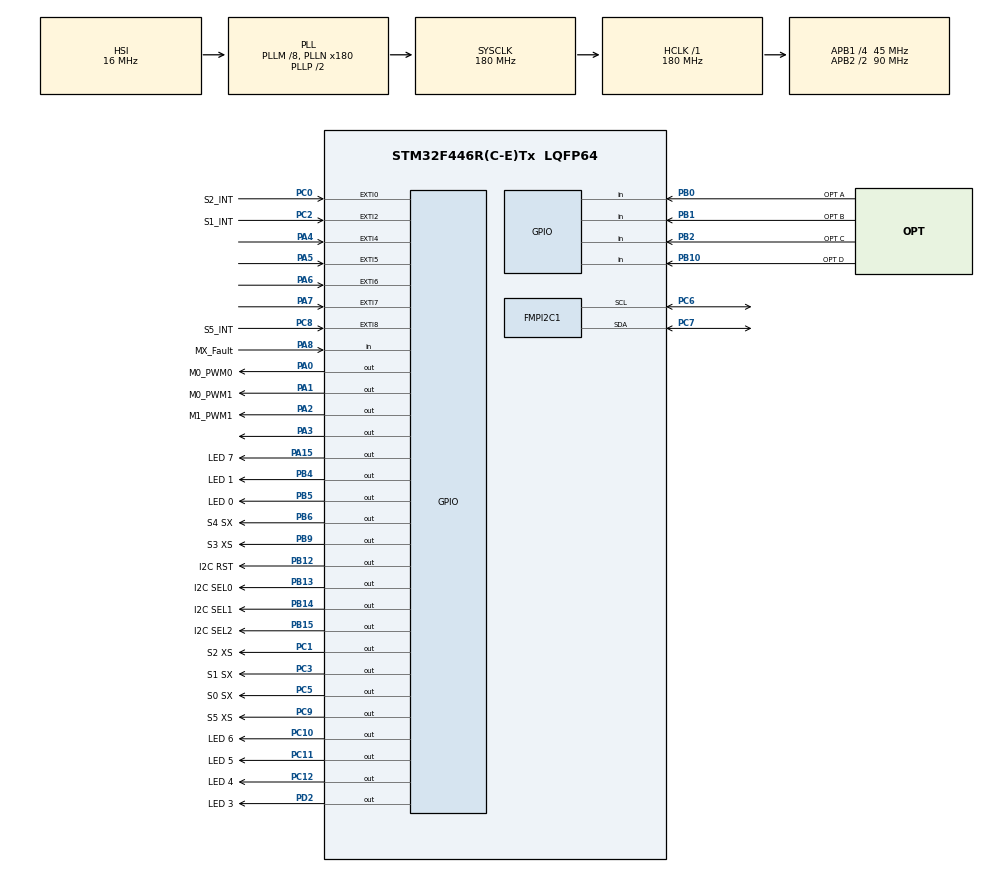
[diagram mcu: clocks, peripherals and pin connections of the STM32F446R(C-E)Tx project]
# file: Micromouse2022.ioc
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FMPI2C1.Timing=0xC0000E12
FREERTOS.Tasks01=defaultTask,0,128,StartDefaultTask,Default,NULL,Dynamic,NULL,NULL
Mcu.Family=STM32F4
Mcu.Name=STM32F446R(C-E)Tx
Mcu.Package=LQFP64
NVIC.EXTI0_IRQn=true\:5\:0\:false\:false\:true\:true\:true\:true
NVIC.EXTI2_IRQn=true\:5\:0\:false\:false\:true\:true\:true\:true
NVIC.EXTI4_IRQn=true\:5\:0\:false\:false\:true\:true\:true\:true
NVIC.EXTI9_5_IRQn=true\:5\:0\:false\:false\:true\:true\:true\:true
NVIC.PriorityGroup=NVIC_PRIORITYGROUP_4
NVIC.TIM1_UP_TIM10_IRQn=true\:15\:0\:false\:false\:true\:false\:false\:true
NVIC.TimeBase=TIM1_UP_TIM10_IRQn
NVIC.TimeBaseIP=TIM1
PA0-WKUP.GPIO_Label=M0_PWM0
PA0-WKUP.Signal=GPIO_Output
PA1.GPIO_Label=M0_PWM1
PA1.Signal=GPIO_Output
PA13.Mode=Serial_Wire
PA13.Signal=SYS_JTMS-SWDIO
PA14.Mode=Serial_Wire
PA14.Signal=SYS_JTCK-SWCLK
PA15.GPIO_Label=LED 7
PA15.Signal=GPIO_Output
PA2.GPIO_Label=M1_PWM1
PA2.Signal=GPIO_Output
PA3.Signal=GPIO_Output
PA4.Signal=GPXTI4
PA5.Signal=GPXTI5
PA6.Signal=GPXTI6
PA7.Signal=GPXTI7
PA8.GPIO_Label=MX_Fault
PA8.Signal=GPIO_Input
PB0.GPIO_Label=OPT A
PB0.Signal=GPIO_Input
PB1.GPIO_Label=OPT B
PB1.Signal=GPIO_Input
PB10.GPIO_Label=OPT D
PB10.Signal=GPIO_Input
PB12.GPIO_Label=I2C RST
PB12.Signal=GPIO_Output
PB13.GPIO_Label=I2C SEL0
PB13.Signal=GPIO_Output
PB14.GPIO_Label=I2C SEL1
PB14.Signal=GPIO_Output
PB15.GPIO_Label=I2C SEL2
PB15.Signal=GPIO_Output
PB2.GPIO_Label=OPT C
PB2.Signal=GPIO_Input
PB3.Signal=SYS_JTDO-SWO
PB4.GPIO_Label=LED 1
PB4.Signal=GPIO_Output
PB5.GPIO_Label=LED 0
PB5.Signal=GPIO_Output
PB6.GPIO_Label=S4 SX
PB6.GPIO_PuPd=GPIO_PULLUP
PB6.Signal=GPIO_Output
PB9.GPIO_Label=S3 XS
PB9.GPIO_PuPd=GPIO_PULLUP
PB9.Signal=GPIO_Output
PC0.GPIO_Label=S2_INT
PC0.Signal=GPXTI0
PC1.GPIO_Label=S2 XS
PC1.GPIO_PuPd=GPIO_PULLUP
PC1.Signal=GPIO_Output
PC10.GPIO_Label=LED 6
PC10.Signal=GPIO_Output
PC11.GPIO_Label=LED 5
PC11.Signal=GPIO_Output
PC12.GPIO_Label=LED 4
PC12.Signal=GPIO_Output
PC14-OSC32_IN.Mode=LSE-External-Oscillator
PC14-OSC32_IN.Signal=RCC_OSC32_IN
PC15-OSC32_OUT.Mode=LSE-External-Oscillator
PC15-OSC32_OUT.Signal=RCC_OSC32_OUT
PC2.GPIO_Label=S1_INT
PC2.Signal=GPXTI2
PC3.GPIO_Label=S1 SX
PC3.GPIO_PuPd=GPIO_PULLUP
PC3.Signal=GPIO_Output
PC5.GPIO_Label=S0 SX
PC5.GPIO_PuPd=GPIO_PULLUP
PC5.Signal=GPIO_Output
PC6.Mode=I2C
PC6.Signal=FMPI2C1_SCL
PC7.Mode=I2C
PC7.Signal=FMPI2C1_SDA
PC8.GPIO_Label=S5_INT
PC8.Signal=GPXTI8
PC9.GPIO_Label=S5 XS
PC9.GPIO_PuPd=GPIO_PULLUP
PC9.Signal=GPIO_Output
PD2.GPIO_Label=LED 3
PD2.Signal=GPIO_Output
PH0-OSC_IN.Mode=HSE-External-Oscillator
PH0-OSC_IN.Signal=RCC_OSC_IN
PH1-OSC_OUT.Mode=HSE-External-Oscillator
PH1-OSC_OUT.Signal=RCC_OSC_OUT
ProjectManager.HeapSize=0x200
ProjectManager.StackSize=0x400
ProjectManager.TargetToolchain=STM32CubeIDE
RCC.AHBFreq_Value=180000000
RCC.APB1CLKDivider=RCC_HCLK_DIV4
RCC.APB1Freq_Value=45000000
RCC.APB1TimFreq_Value=90000000
RCC.APB2CLKDivider=RCC_HCLK_DIV2
RCC.APB2Freq_Value=90000000
RCC.APB2TimFreq_Value=180000000
RCC.CortexFreq_Value=180000000
RCC.HCLKFreq_Value=180000000
RCC.HSE_VALUE=16000000
RCC.PLLM=8
RCC.PLLN=180
RCC.SYSCLKFreq_VALUE=180000000
RCC.SYSCLKSource=RCC_SYSCLKSOURCE_PLLCLK
RCC.USBFreq_Value=180000000
RCC.VCOOutputFreq_Value=360000000
VP_FREERTOS_VS_CMSIS_V1.Mode=CMSIS_V1
VP_SYS_VS_tim1.Mode=TIM1
board=custom

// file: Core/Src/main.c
/* USER CODE BEGIN Header */
/**
  ******************************************************************************
  * @file           : main.c
  * @brief          : Main program body
  ******************************************************************************
  * @attention
  *
  * Copyright (c) 2022 STMicroelectronics.
  * All rights reserved.
  *
  * This software is licensed under terms that can be found in the LICENSE file
  * in the root directory of this software component.
  * If no LICENSE file comes with this software, it is provided AS-IS.
  *
  ******************************************************************************
  */

// Uh so the current plan is that the sensor values are read with an interrupt
// But then we also implement blocking functions for moving in a direction, or
// checking if there's a wall in a given direction. That can do what they want

// TODO: Function to move 1 square in any direction
// TODO: Function to check if there's a wall in a given direction
// TODO: Check DIP switches for maze algo
// TODO: Once we've solved the maze, go back to the beginning, and run it
// TODO: Any number of bugs arising from the fact that I don't know C

/* USER CODE END Header */
#include "main.h"
#include "cmsis_os.h"

/* USER CODE BEGIN Includes */
#include <stdlib.h>
#include <string.h>
/* USER CODE END Includes */

/* USER CODE BEGIN PD */
#define MAZE_SIZE 10
// 0 - Basic A*; 1 - A*, but tries to go center; 2 - A²*, 3 - Augment A* and extra huristic
#define MAPPING_MODE 3

#define END_X 5
#define END_Y 5

/* USER CODE END PD */

FMPI2C_HandleTypeDef hfmpi2c1;

osThreadId defaultTaskHandle;

void SystemClock_Config(void);
static void MX_GPIO_Init(void);
static void MX_FMPI2C1_Init(void);
void StartDefaultTask(void const * argument);

/* USER CODE BEGIN 0 */
// A maze
// Uh
// maze[Y][X][1: vertical; 0: horizontal]
// And the number represents the confidence
// So 0 is we have no idea, and positive is wall, and negative is no wall
int maze[11][11][2];

// Aahhhah
typedef struct Node Node;

struct Node {
	int x;
	int y;
	int closed; //Boolean but this is C :(
	int distance; // The length of the path up to this point, this.last.distance + 1
	int guess; // The heuristic, usually Manhattan to goal with no walls
	int score; //The guess + distance (depending on algo) (lower is better)
	Node* last; //The parent node, the node from which we discovered this node
};

// The list of nodes
// Sorted such that closed nodes are 0..closedNodes-1
// And nodes after that increase in score
// This is the canonical list of nodes, order doesn't matter
// All other nodes are pointers into nodesStatic
Node nodesStatic[MAZE_SIZE*MAZE_SIZE];
// A*'s working list of nodes. 0..closedNodes-1 are closed, and closedNodes..numNodes-1 are open
Node *nodes[MAZE_SIZE*MAZE_SIZE];
int closedNodes = 0;
int numNodes = 0;

//let robot (Needs to keep track of inter-tile location, e.g. encoder counts)
Node *current; //The node the robot is currently at (or that A* thinks we're at)
Node *goal; //The current goal node
//let state (Might be needed to track what we're doing. Might be fine a while true loop and blocking functions)
Node *backPath[MAZE_SIZE*MAZE_SIZE]; // Used to store the path along which we backtrack to get to goal
int backPathLength = 0;

// The main path, once we've solved the maze, the route we use
Node *mainPath[MAZE_SIZE*MAZE_SIZE];
int pathLength = 0;

//Heuristic function
int h (int x, int y) {
	return abs(END_X - x) + abs(END_Y - y);
}

void insertAt(Node **arr, int len, int i, Node* n) {
	for (int j = len; j > i; j --) {
		arr[j] = arr[j - 1];
	}
	arr[i] = n;
}

void removeAt(Node **arr, int len, int i) {
	for (int j = i; j < len - 1; j ++) {
		arr[j] = arr[j + 1];
	}
}

void addNodeIfNotExists(int x, int y) {
	//Check if we've seen the node before
	for (int i = 0; i < numNodes; i++) {
		if (nodes[i]->x == x && nodes[i]->y == y) {
			//We don't have to ever update the score on a node
			//Because our heuristic is nice (just distance)
			return;
		}
	}

	Node *n = &nodesStatic[numNodes];
	n->x = x;
	n->y = y;
	n->last = current;
	n->guess = h(x, y);
	n->distance = current->distance + 1;
	if (MAPPING_MODE == 0) {
		n->score = n->distance + n->guess;
	}else if (MAPPING_MODE == 1 || MAPPING_MODE == 3) {
		n->score = n->distance + n->guess*10;
	}

	/*//Just assertions
	assertEq(nodes[closedNodes].closed, false, "AHHHH");
	if (closedNodes < nodes.length - 1) {
		assertEq(nodes[closedNodes + 1].closed, false, "B");
	}else {
		console.assert(false, "testing");
	}
	if (closedNodes >= 1) {
		assertEq(nodes[closedNodes - 1].closed, true, "B");
	}*/

	//Sort the new node in
	for (int i = closedNodes; i < numNodes; i++) {
		if (nodes[i]->score > n->score) {
			//nodes.splice(i, 0, n);
			//arr, length, index to insert, item
			insertAt(nodes, numNodes, i, n);
			numNodes++;
			return;
		}
	}
	//Otherwise, add the node to the end
    //	nodes.splice(nodes.length, 0, n);
    //	insertAt(nodes, numNodes, numNodes, n);
	nodes[numNodes] = n;
	numNodes++;
}

int checkDone() {
	return current->x == END_X && current->y == END_Y;
}

// Once we've solved the maze, converts node tree into `mainPath` (a list)
void createPath() {
	mainPath[0] = current;
	Node *previous = current;
	pathLength = 1;
	while (previous->last->distance >= 0) {
		// path.unshift(backtrack.last);
		insertAt(mainPath, pathLength, 0, previous->last);
		pathLength++;
		previous = previous->last;
	}
}

//Update the known information about the maze with what we know
void updateMaze() {
	//TODO: Scan the maze

	//If there's not a wall to each of our sides, add a new node there
	if (!maze[current->y][current->x][0]) {
		addNodeIfNotExists(current->x, current->y - 1);
	}
	//Left
	if (!maze[current->y][current->x][1]) {
		addNodeIfNotExists(current->x - 1, current->y);
	}
	//Down
	if (!maze[current->y + 1][current->x][0]) {
		addNodeIfNotExists(current->x, current->y + 1);
	}
	//Right
	if (!maze[current->y][current->x + 1][1]) {
		addNodeIfNotExists(current->x + 1, current->y);
	}
}

void updateGoal () {
	if (closedNodes >= numNodes) {
		return;
	}

	if (MAPPING_MODE == 1 || MAPPING_MODE == 2) {
		goal = nodes[closedNodes];
	}else {
		//If there's one adjacent node, go there, otherwise go to A*
		Node *adjacentNode = NULL;

		for (int i = 0; i < numNodes; i++) {
			//If it's open and adjacent
			if (nodes[i]->last == current && !nodes[i]->closed) {
				// If we already have one
				if (adjacentNode != NULL) {
					//Then we want to ignore it
					adjacentNode = NULL;
				}else {
					adjacentNode = nodes[i];
				}
			}
		}

		if (adjacentNode == NULL) {
			goal = nodes[closedNodes];
		}else {
			goal = adjacentNode;
		}
	}
}

void createBackPath() {
	//finding backPath only needs to run once
	// Create a path.
	//      Find a common parent of current and goal
	//	backPath[0] = current;
	//	backPath[1] = goal;
	memcpy(&backPath[0], current, sizeof(Node));
	memcpy(&backPath[1], goal, sizeof(Node));
	int numMid = 1; //The number of nodes that we go up before going back down.
	backPathLength = 2;

	const int genDiff = abs(current->distance - goal->distance);

	for (int i = 0; i < genDiff; i++) {
		if (current->distance > goal->distance) {
			// parentCur.push(parentCur[parentCur.length-1].last);
			// backPath.splice(numMid, 0, backPath[numMid - 1].last);
			insertAt(backPath, backPathLength, numMid, backPath[numMid - 1]->last);
			numMid++;
			backPathLength++;
		}else {
			// parentGoal.unshift(parentGoal[0].last);
			// backPath.splice(numMid, 0, backPath[numMid].last);
			insertAt(backPath, backPathLength, numMid, backPath[numMid]->last);
			backPathLength++;
		}
	}
	//Walk back up the tree until they're the same
	while (backPath[numMid-1]->last != backPath[numMid]->last) {
		// parentCur.push(parentCur[parentCur.length-1].last);
		// backPath.splice(numMid, 0, backPath[numMid-1].last);
		insertAt(backPath, backPathLength, numMid, backPath[numMid-1]->last);
		numMid++;
		backPathLength++;

		// parentGoal.unshift(parentGoal[0].last);
		// backPath.splice(numMid, 0, backPath[numMid].last);
		insertAt(backPath, backPathLength, numMid, backPath[numMid]->last);
		backPathLength++;
	}
	//Remove the duplicated shared parent, that they both pushed
	// backPath.slice(numMid, 0, backPath[numMid].last);
	removeAt(backPath, backPathLength, numMid);
	backPathLength--;
}

void moveToGoal() {
    // Move back along path
    //      To move one node, move ? per tile
    // backPath is a list of contiguous nodes. First is current, last is goal

	//TODO: Uh spin some motors or something
	// Probably refactor this to call a blocking move function,
	// And continue once we're there, instead of checking if we're there

//    if (backPath[1].x == (robot.x - SQUARE_SIZE/2)/SQUARE_SIZE &&
//        backPath[1].y == (robot.y - SQUARE_SIZE/2)/SQUARE_SIZE) {
//        //Then we've made it
//        backPath.shift(); //Remove the first
//    }
	if (1==1 /*We're there, by some metric*/) {
		//Then we've made it
		removeAt(backPath, backPathLength, 0);
		backPathLength--;
	}

    if (backPathLength == 1) {
        //Then we're actually done,

        current = backPath[0];
        backPathLength = 0;
    }
}
/* USER CODE END 0 */

int main(void)
{

  /* MCU Configuration--------------------------------------------------------*/

  /* Reset of all peripherals, Initializes the Flash interface and the Systick. */
  HAL_Init();

  /* Configure the system clock */
  SystemClock_Config();

  /* Initialize all configured peripherals */
  MX_GPIO_Init();
  MX_FMPI2C1_Init();
  /* USER CODE BEGIN 2 */

  // Read DIP values
  const OPT_A = HAL_GPIO_ReadPin(OPT_A_GPIO_Port, OPT_A_Pin);
  const OPT_B = HAL_GPIO_ReadPin(OPT_B_GPIO_Port, OPT_B_Pin);
  const OPT_C = HAL_GPIO_ReadPin(OPT_C_GPIO_Port, OPT_C_Pin);
  const OPT_D = HAL_GPIO_ReadPin(OPT_D_GPIO_Port, OPT_D_Pin);

  //TODO: use DIP values

  /* USER CODE END 2 */

  /* Create the thread(s) */
  /* definition and creation of defaultTask */
  osThreadDef(defaultTask, StartDefaultTask, osPriorityNormal, 0, 128);
  defaultTaskHandle = osThreadCreate(osThread(defaultTask), NULL);

  /* Start scheduler */
  osKernelStart();

  /* We should never get here as control is now taken by the scheduler */
  /* Infinite loop */
  while (1)
  {

  }
}

void SystemClock_Config(void)
{
  RCC_OscInitTypeDef RCC_OscInitStruct = {0};
  RCC_ClkInitTypeDef RCC_ClkInitStruct = {0};

  /** Configure the main internal regulator output voltage
  */
  __HAL_RCC_PWR_CLK_ENABLE();
  __HAL_PWR_VOLTAGESCALING_CONFIG(PWR_REGULATOR_VOLTAGE_SCALE1);
  /** Initializes the RCC Oscillators according to the specified parameters
  * in the RCC_OscInitTypeDef structure.
  */
  RCC_OscInitStruct.OscillatorType = RCC_OSCILLATORTYPE_HSI;
  RCC_OscInitStruct.HSIState = RCC_HSI_ON;
  RCC_OscInitStruct.HSICalibrationValue = RCC_HSICALIBRATION_DEFAULT;
  RCC_OscInitStruct.PLL.PLLState = RCC_PLL_ON;
  RCC_OscInitStruct.PLL.PLLSource = RCC_PLLSOURCE_HSI;
  RCC_OscInitStruct.PLL.PLLM = 8;
  RCC_OscInitStruct.PLL.PLLN = 180;
  RCC_OscInitStruct.PLL.PLLP = RCC_PLLP_DIV2;
  RCC_OscInitStruct.PLL.PLLQ = 2;
  RCC_OscInitStruct.PLL.PLLR = 2;
  if (HAL_RCC_OscConfig(&RCC_OscInitStruct) != HAL_OK)
  {
    Error_Handler();
  }
  /** Activate the Over-Drive mode
  */
  if (HAL_PWREx_EnableOverDrive() != HAL_OK)
  {
    Error_Handler();
  }
  /** Initializes the CPU, AHB and APB buses clocks
  */
  RCC_ClkInitStruct.ClockType = RCC_CLOCKTYPE_HCLK|RCC_CLOCKTYPE_SYSCLK
                              |RCC_CLOCKTYPE_PCLK1|RCC_CLOCKTYPE_PCLK2;
  RCC_ClkInitStruct.SYSCLKSource = RCC_SYSCLKSOURCE_PLLCLK;
  RCC_ClkInitStruct.AHBCLKDivider = RCC_SYSCLK_DIV1;
  RCC_ClkInitStruct.APB1CLKDivider = RCC_HCLK_DIV4;
  RCC_ClkInitStruct.APB2CLKDivider = RCC_HCLK_DIV2;

  if (HAL_RCC_ClockConfig(&RCC_ClkInitStruct, FLASH_LATENCY_5) != HAL_OK)
  {
    Error_Handler();
  }
}

static void MX_FMPI2C1_Init(void)
{

  hfmpi2c1.Instance = FMPI2C1;
  hfmpi2c1.Init.Timing = 0xC0000E12;
  hfmpi2c1.Init.OwnAddress1 = 0;
  hfmpi2c1.Init.AddressingMode = FMPI2C_ADDRESSINGMODE_7BIT;
  hfmpi2c1.Init.DualAddressMode = FMPI2C_DUALADDRESS_DISABLE;
  hfmpi2c1.Init.OwnAddress2 = 0;
  hfmpi2c1.Init.OwnAddress2Masks = FMPI2C_OA2_NOMASK;
  hfmpi2c1.Init.GeneralCallMode = FMPI2C_GENERALCALL_DISABLE;
  hfmpi2c1.Init.NoStretchMode = FMPI2C_NOSTRETCH_DISABLE;
  if (HAL_FMPI2C_Init(&hfmpi2c1) != HAL_OK)
  {
    Error_Handler();
  }
  /** Configure Analogue filter
  */
  if (HAL_FMPI2CEx_ConfigAnalogFilter(&hfmpi2c1, FMPI2C_ANALOGFILTER_ENABLE) != HAL_OK)
  {
    Error_Handler();
  }

}

static void MX_GPIO_Init(void)
{
  GPIO_InitTypeDef GPIO_InitStruct = {0};

  /* GPIO Ports Clock Enable */
  __HAL_RCC_GPIOC_CLK_ENABLE();
  __HAL_RCC_GPIOH_CLK_ENABLE();
  __HAL_RCC_GPIOA_CLK_ENABLE();
  __HAL_RCC_GPIOB_CLK_ENABLE();
  __HAL_RCC_GPIOD_CLK_ENABLE();

  /*Configure GPIO pin Output Level */
  HAL_GPIO_WritePin(GPIOC, S2_XS_Pin|S1_SX_Pin|S0_SX_Pin|S5_XS_Pin
                          |LED_6_Pin|LED_5_Pin|LED_4_Pin, GPIO_PIN_RESET);

  /*Configure GPIO pin Output Level */
  HAL_GPIO_WritePin(GPIOA, M0_PWM0_Pin|M0_PWM1_Pin|M1_PWM1_Pin|GPIO_PIN_3
                          |LED_7_Pin, GPIO_PIN_RESET);

  /*Configure GPIO pin Output Level */
  HAL_GPIO_WritePin(GPIOB, I2C_RST_Pin|I2C_SEL0_Pin|I2C_SEL1_Pin|I2C_SEL2_Pin
                          |LED_1_Pin|LED_0_Pin|S4_SX_Pin|S3_XS_Pin, GPIO_PIN_RESET);

  /*Configure GPIO pin Output Level */
  HAL_GPIO_WritePin(LED_3_GPIO_Port, LED_3_Pin, GPIO_PIN_RESET);

  /*Configure GPIO pins : S2_INT_Pin S1_INT_Pin S5_INT_Pin */
  GPIO_InitStruct.Pin = S2_INT_Pin|S1_INT_Pin|S5_INT_Pin;
  GPIO_InitStruct.Mode = GPIO_MODE_IT_RISING;
  GPIO_InitStruct.Pull = GPIO_NOPULL;
  HAL_GPIO_Init(GPIOC, &GPIO_InitStruct);

  /*Configure GPIO pins : S2_XS_Pin S1_SX_Pin S0_SX_Pin S5_XS_Pin */
  GPIO_InitStruct.Pin = S2_XS_Pin|S1_SX_Pin|S0_SX_Pin|S5_XS_Pin;
  GPIO_InitStruct.Mode = GPIO_MODE_OUTPUT_PP;
  GPIO_InitStruct.Pull = GPIO_PULLUP;
  GPIO_InitStruct.Speed = GPIO_SPEED_FREQ_LOW;
  HAL_GPIO_Init(GPIOC, &GPIO_InitStruct);

  /*Configure GPIO pins : M0_PWM0_Pin M0_PWM1_Pin M1_PWM1_Pin PA3
                           LED_7_Pin */
  GPIO_InitStruct.Pin = M0_PWM0_Pin|M0_PWM1_Pin|M1_PWM1_Pin|GPIO_PIN_3
                          |LED_7_Pin;
  GPIO_InitStruct.Mode = GPIO_MODE_OUTPUT_PP;
  GPIO_InitStruct.Pull = GPIO_NOPULL;
  GPIO_InitStruct.Speed = GPIO_SPEED_FREQ_LOW;
  HAL_GPIO_Init(GPIOA, &GPIO_InitStruct);

  /*Configure GPIO pins : PA4 PA5 PA6 PA7 */
  GPIO_InitStruct.Pin = GPIO_PIN_4|GPIO_PIN_5|GPIO_PIN_6|GPIO_PIN_7;
  GPIO_InitStruct.Mode = GPIO_MODE_IT_RISING;
  GPIO_InitStruct.Pull = GPIO_NOPULL;
  HAL_GPIO_Init(GPIOA, &GPIO_InitStruct);

  /*Configure GPIO pins : OPT_A_Pin OPT_B_Pin OPT_C_Pin OPT_D_Pin */
  GPIO_InitStruct.Pin = OPT_A_Pin|OPT_B_Pin|OPT_C_Pin|OPT_D_Pin;
  GPIO_InitStruct.Mode = GPIO_MODE_INPUT;
  GPIO_InitStruct.Pull = GPIO_NOPULL;
  HAL_GPIO_Init(GPIOB, &GPIO_InitStruct);

  /*Configure GPIO pins : I2C_RST_Pin I2C_SEL0_Pin I2C_SEL1_Pin I2C_SEL2_Pin
                           LED_1_Pin LED_0_Pin */
  GPIO_InitStruct.Pin = I2C_RST_Pin|I2C_SEL0_Pin|I2C_SEL1_Pin|I2C_SEL2_Pin
                          |LED_1_Pin|LED_0_Pin;
  GPIO_InitStruct.Mode = GPIO_MODE_OUTPUT_PP;
  GPIO_InitStruct.Pull = GPIO_NOPULL;
  GPIO_InitStruct.Speed = GPIO_SPEED_FREQ_LOW;
  HAL_GPIO_Init(GPIOB, &GPIO_InitStruct);

  /*Configure GPIO pin : MX_Fault_Pin */
  GPIO_InitStruct.Pin = MX_Fault_Pin;
  GPIO_InitStruct.Mode = GPIO_MODE_INPUT;
  GPIO_InitStruct.Pull = GPIO_NOPULL;
  HAL_GPIO_Init(MX_Fault_GPIO_Port, &GPIO_InitStruct);

  /*Configure GPIO pins : LED_6_Pin LED_5_Pin LED_4_Pin */
  GPIO_InitStruct.Pin = LED_6_Pin|LED_5_Pin|LED_4_Pin;
  GPIO_InitStruct.Mode = GPIO_MODE_OUTPUT_PP;
  GPIO_InitStruct.Pull = GPIO_NOPULL;
  GPIO_InitStruct.Speed = GPIO_SPEED_FREQ_LOW;
  HAL_GPIO_Init(GPIOC, &GPIO_InitStruct);

  /*Configure GPIO pin : LED_3_Pin */
  GPIO_InitStruct.Pin = LED_3_Pin;
  GPIO_InitStruct.Mode = GPIO_MODE_OUTPUT_PP;
  GPIO_InitStruct.Pull = GPIO_NOPULL;
  GPIO_InitStruct.Speed = GPIO_SPEED_FREQ_LOW;
  HAL_GPIO_Init(LED_3_GPIO_Port, &GPIO_InitStruct);

  /*Configure GPIO pins : S4_SX_Pin S3_XS_Pin */
  GPIO_InitStruct.Pin = S4_SX_Pin|S3_XS_Pin;
  GPIO_InitStruct.Mode = GPIO_MODE_OUTPUT_PP;
  GPIO_InitStruct.Pull = GPIO_PULLUP;
  GPIO_InitStruct.Speed = GPIO_SPEED_FREQ_LOW;
  HAL_GPIO_Init(GPIOB, &GPIO_InitStruct);

  /* EXTI interrupt init*/
  HAL_NVIC_SetPriority(EXTI0_IRQn, 5, 0);
  HAL_NVIC_EnableIRQ(EXTI0_IRQn);

  HAL_NVIC_SetPriority(EXTI2_IRQn, 5, 0);
  HAL_NVIC_EnableIRQ(EXTI2_IRQn);

  HAL_NVIC_SetPriority(EXTI4_IRQn, 5, 0);
  HAL_NVIC_EnableIRQ(EXTI4_IRQn);

  HAL_NVIC_SetPriority(EXTI9_5_IRQn, 5, 0);
  HAL_NVIC_EnableIRQ(EXTI9_5_IRQn);

}

/* USER CODE BEGIN 4 */
// GPIO_Pin is the pin of the sensor that trigger the interrupt
void HAL_GPIO_EXTI_Callback(uint16_t GPIO_Pin) {
	// We only have finite number of interrupts
	// We would love interrupts on S0_INT, S1_INT, S2_INT, S3_INT, S4_INT, S5_INT and M0_QA, M0_QB, Mq_QA, M1_B
	// Can't have an interrupt for every sensor
	// All 4 encoder pins are interrupt driven
	// This means that we can't interrupt drive S4_INT (PB7), S3_INT (PB8), S0_INT (PC4)

//	if (GPIO_Pin == P C 4) {
//
//	}
}
/* USER CODE END 4 */

void StartDefaultTask(void const * argument)
{
  /* USER CODE BEGIN 5 */
	/* Infinite loop */
	while (1 == 1) {
		//Then we've solved the maze
		if (pathLength > 0) {
			osDelay(10);
			//TODO: Run the maze in reverse, then forwards
		}else {
			//Go to goal target, if we get there, update
			//TODO: Check if we've made it to the goal
			// if (goal.x == (robot.x - SQUARE_SIZE/2)/SQUARE_SIZE &&
			// goal.y == (robot.y - SQUARE_SIZE/2)/SQUARE_SIZE) {
			// Can probably check if backPathLength == 0 or something
			if (1 == 1 /*TODO*/) {
				//Update where we are
				current = goal;

				//Check if we're done
				if (checkDone()) {
					createPath();
				}else {
					//Update our knowledge of the maze, from the current tile
					// i.e. scan around us
					updateMaze();

					//Close the current node
					current->closed = 1;
					//If this wasn't the next node scheduled to be closed, we need to move it to the closed section of the list
					if (nodes[closedNodes] != current) {
						Node *lastValue = nodes[closedNodes];
						for (int i = closedNodes + 1; i < numNodes; i++) {
							Node *tmp = nodes[i];
							nodes[i] = lastValue;
							lastValue = tmp;
							if (tmp == current) {
								//Then we're done
								break;
							}
						}
						nodes[closedNodes] = current;
					}
					closedNodes++;

					// Update goal
					//  get a new goal
					updateGoal();
				}
			}else {
				//Move to previously discovered `goal` tile
				if (backPathLength > 0) {
				  createBackPath();
				}
				moveToGoal();
			}
		}
		osDelay(1);
	}

  /* USER CODE END 5 */
}

void HAL_TIM_PeriodElapsedCallback(TIM_HandleTypeDef *htim)
{
  if (htim->Instance == TIM1) {
    HAL_IncTick();
  }
}

void Error_Handler(void)
{
  __disable_irq();
  while (1)
  {
  }
}
